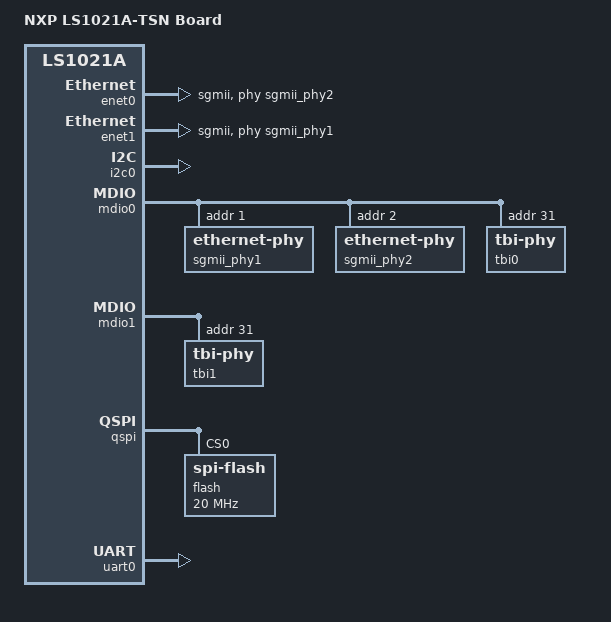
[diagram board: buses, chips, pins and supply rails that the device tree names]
// SPDX-License-Identifier: GPL-2.0
/* Copyright 2016-2018 NXP Semiconductors
 * Copyright 2019 Vladimir Oltean <olteanv@gmail.com>
 */

/dts-v1/;
#include "ls1021a.dtsi"

/ {
	model = "NXP LS1021A-TSN Board";

	aliases {
		enet0-sgmii-phy = &sgmii_phy2;
		enet1-sgmii-phy = &sgmii_phy1;
		spi0 = &qspi;
		spi1 = &dspi1;
	};
};

&enet0 {
	tbi-handle = <&tbi0>;
	phy-handle = <&sgmii_phy2>;
	phy-mode = "sgmii";
	status = "okay";
};

&enet1 {
	tbi-handle = <&tbi1>;
	phy-handle = <&sgmii_phy1>;
	phy-mode = "sgmii";
	status = "okay";
};

&i2c0 {
	status = "okay";
};

&mdio0 {
	/* AR8031 */
	sgmii_phy1: ethernet-phy@1 {
		reg = <0x1>;
	};

	/* AR8031 */
	sgmii_phy2: ethernet-phy@2 {
		reg = <0x2>;
	};

	/* SGMII PCS for enet0 */
	tbi0: tbi-phy@1f {
		reg = <0x1f>;
		device_type = "tbi-phy";
	};
};

&mdio1 {
	/* SGMII PCS for enet1 */
	tbi1: tbi-phy@1f {
		reg = <0x1f>;
		device_type = "tbi-phy";
	};
};

&qspi {
	bus-num = <0>;
	status = "okay";

	flash@0 {
		compatible = "spi-flash";
		spi-max-frequency = <20000000>;
		reg = <0>;
	};
};

&uart0 {
	status = "okay";
};
